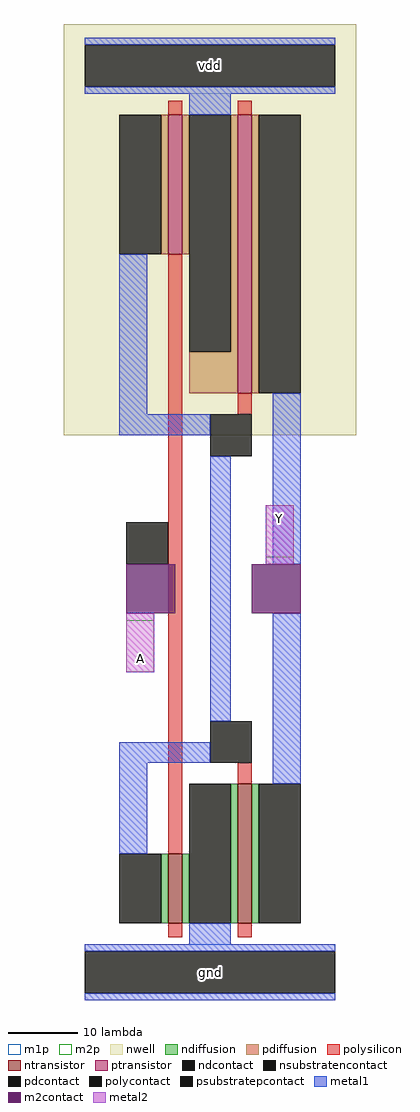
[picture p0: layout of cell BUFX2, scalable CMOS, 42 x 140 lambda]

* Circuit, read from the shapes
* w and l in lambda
.subckt BUFX2 A Y vdd gnd
M1 gnd A n1 gnd nfet w=10 l=2
M2 Y n1 gnd gnd nfet w=20 l=2
M3 vdd A n1 vdd pfet w=20 l=2
M4 Y n1 vdd vdd pfet w=40 l=2
.ends

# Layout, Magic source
magic
tech scmos
magscale 1 2
<< nwell >>
rect -12 154 72 272
<< ntransistor >>
rect 18 14 22 34
rect 38 14 42 54
<< ptransistor >>
rect 18 206 22 246
rect 38 166 42 246
<< ndiffusion >>
rect 16 14 18 34
rect 22 14 24 34
rect 36 14 38 54
rect 42 14 44 54
<< pdiffusion >>
rect 16 206 18 246
rect 22 206 24 246
rect 36 178 38 246
rect 24 166 38 178
rect 42 166 44 246
<< ndcontact >>
rect 4 14 16 34
rect 24 14 36 54
rect 44 14 56 54
<< pdcontact >>
rect 4 206 16 246
rect 24 178 36 246
rect 44 166 56 246
<< psubstratepcontact >>
rect -6 -6 66 6
<< nsubstratencontact >>
rect -6 254 66 266
<< polysilicon >>
rect 18 246 22 250
rect 38 246 42 250
rect 18 34 22 206
rect 38 160 42 166
rect 38 54 42 60
rect 18 10 22 14
rect 38 10 42 14
<< polycontact >>
rect 6 117 18 129
rect 30 148 42 160
rect 30 60 42 72
<< metal1 >>
rect -6 266 66 268
rect -6 252 66 254
rect 24 246 36 252
rect 4 160 12 206
rect 4 154 30 160
rect 30 72 36 148
rect 48 117 56 166
rect 4 60 30 66
rect 4 34 12 60
rect 48 54 56 103
rect 24 8 36 14
rect -6 6 66 8
rect -6 -8 66 -6
<< m2contact >>
rect 6 103 20 117
rect 42 103 56 117
<< metal2 >>
rect 46 117 54 134
rect 6 86 14 103
<< m1p >>
rect -6 252 66 268
rect -6 -8 66 8
<< m2p >>
rect 46 119 54 134
rect 6 86 14 101
<< labels >>
rlabel metal2 10 90 10 90 1 A
port 1 n signal input
rlabel metal2 50 130 50 130 5 Y
port 2 n signal output
rlabel metal1 -6 252 66 268 0 vdd
port 3 nsew power bidirectional abutment
rlabel metal1 -6 -8 66 8 0 gnd
port 4 nsew ground bidirectional abutment
<< properties >>
string FIXED_BBOX 0 0 60 260
string LEFclass CORE
string LEFsite core
string LEFsymmetry X Y
<< end >>
